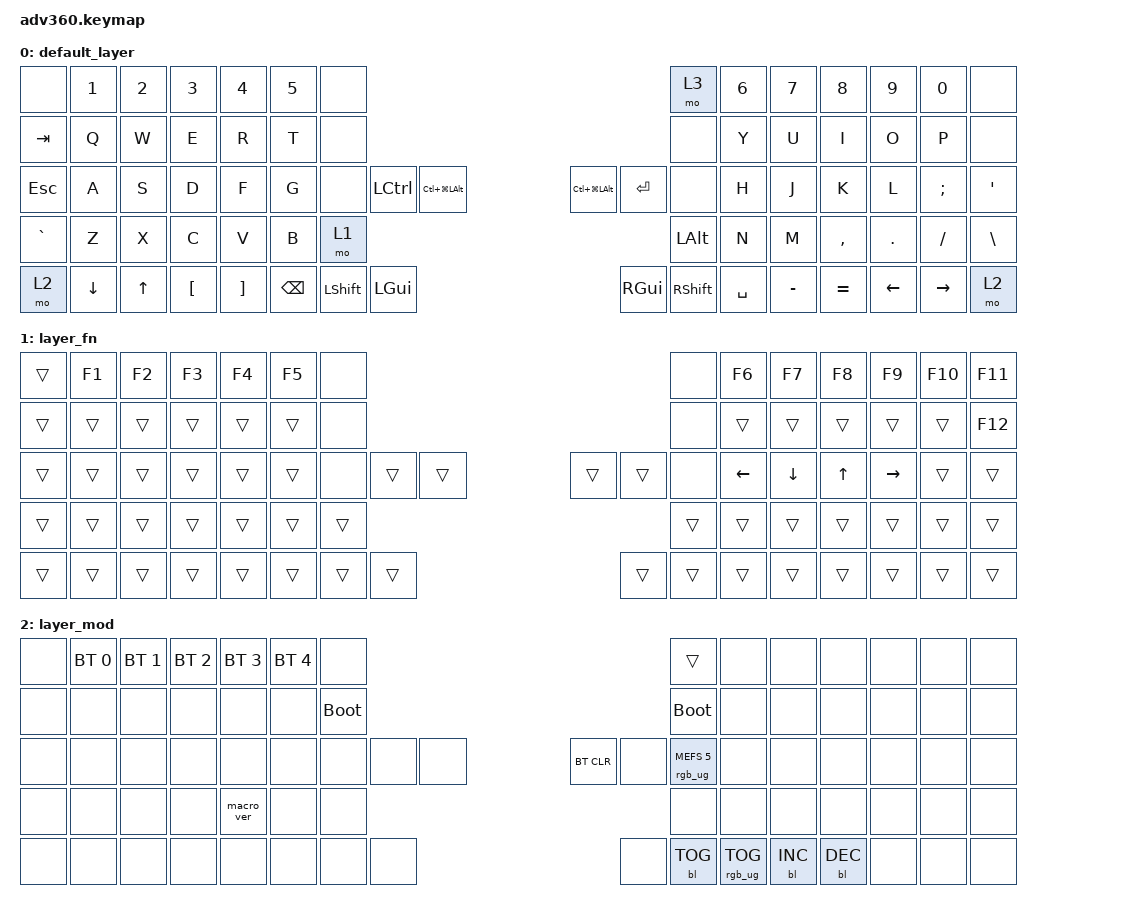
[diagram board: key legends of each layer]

/*
 * Copyright (c) 2020 The ZMK Contributors
 *
 * SPDX-License-Identifier: MIT
 */


/* THIS FILE WAS GENERATED!
 *
 * This file was generated automatically. You may or may not want to
 * edit it directly.
 */

#include <behaviors.dtsi>
#include <dt-bindings/zmk/keys.h>
#include <dt-bindings/zmk/bt.h>
#include <dt-bindings/zmk/rgb.h>
#include <dt-bindings/zmk/backlight.h>

/ {
  behaviors {
    #include "macros.dtsi"
    #include "version.dtsi"

    hm: homerow_mods {
        compatible = "zmk,behavior-hold-tap";
        label = "HOMEROW_MODS";
        #binding-cells = <2>;
        tapping-term-ms = <200>;
        quick_tap_ms = <175>;
        flavor = "tap-preferred";
        bindings = <&kp>, <&kp>;
    };
  };

    keymap {
        compatible = "zmk,keymap";


        default_layer {
            bindings = <
     &none    &kp N1  &kp N2    &kp N3    &kp N4  &kp N5               &none                                                                                                     &mo 3  &kp N6     &kp N7     &kp N8    &kp N9     &kp N0          &none
   &kp TAB     &kp Q   &kp W     &kp E     &kp R   &kp T               &none                                                                                                     &none   &kp Y      &kp U      &kp I     &kp O      &kp P          &none
   &kp ESC     &kp A   &kp S     &kp D     &kp F   &kp G               &none  &kp LEFT_CONTROL  &kp LC(LG(LEFT_ALT))                  &kp LC(LG(LEFT_ALT))        &kp ENTER      &none   &kp H      &kp J      &kp K     &kp L   &kp SEMI        &kp SQT
 &kp GRAVE     &kp Z   &kp X     &kp C     &kp V   &kp B                                                       &mo 1                          &kp LEFT_ALT                               &kp N      &kp M  &kp COMMA   &kp DOT   &kp FSLH  &kp BACKSLASH
     &mo 2  &kp DOWN  &kp UP  &kp LBKT  &kp RBKT                    &kp BSPC         &kp LSHFT          &kp LEFT_GUI                              &kp RGUI  &kp RIGHT_SHIFT  &kp SPACE          &kp MINUS  &kp EQUAL  &kp LEFT  &kp RIGHT          &mo 2
            >;
        };

        layer_fn {
            bindings = <
 &trans  &kp F1  &kp F2  &kp F3  &kp F4  &kp F5             &none                                                   &none    &kp F6    &kp F7        &kp F8     &kp F9  &kp F10  &kp F11
 &trans  &trans  &trans  &trans  &trans  &trans             &none                                                   &none    &trans    &trans        &trans     &trans   &trans  &kp F12
 &trans  &trans  &trans  &trans  &trans  &trans             &none  &trans  &trans                  &trans  &trans   &none  &kp LEFT  &kp DOWN  &kp UP_ARROW  &kp RIGHT   &trans   &trans
 &trans  &trans  &trans  &trans  &trans  &trans                            &trans                  &trans                    &trans    &trans        &trans     &trans   &trans   &trans
 &trans  &trans  &trans  &trans  &trans                    &trans  &trans  &trans                  &trans  &trans  &trans              &trans        &trans     &trans   &trans   &trans
            >;
        };

        layer_mod {
            bindings = <
  &none  &bt BT_SEL 0  &bt BT_SEL 1  &bt BT_SEL 2  &bt BT_SEL 3  &bt BT_SEL 4                  &none                                                                          &trans   &none       &none       &none   &none   &none   &none
  &none         &none         &none         &none         &none         &none            &bootloader                                                                     &bootloader   &none       &none       &none   &none   &none   &none
  &none         &none         &none         &none         &none         &none                  &none   &none   &none                  &bt BT_CLR       &none  &rgb_ug RGB_MEFS_CMD 5   &none       &none       &none   &none   &none   &none
  &none         &none         &none         &none    &macro_ver         &none                                  &none                       &none                                       &none       &none       &none   &none   &none   &none
  &none         &none         &none         &none         &none                                &none   &none   &none                       &none  &bl BL_TOG         &rgb_ug RGB_TOG          &bl BL_INC  &bl BL_DEC   &none   &none   &none
            >;
        };

    };
};
